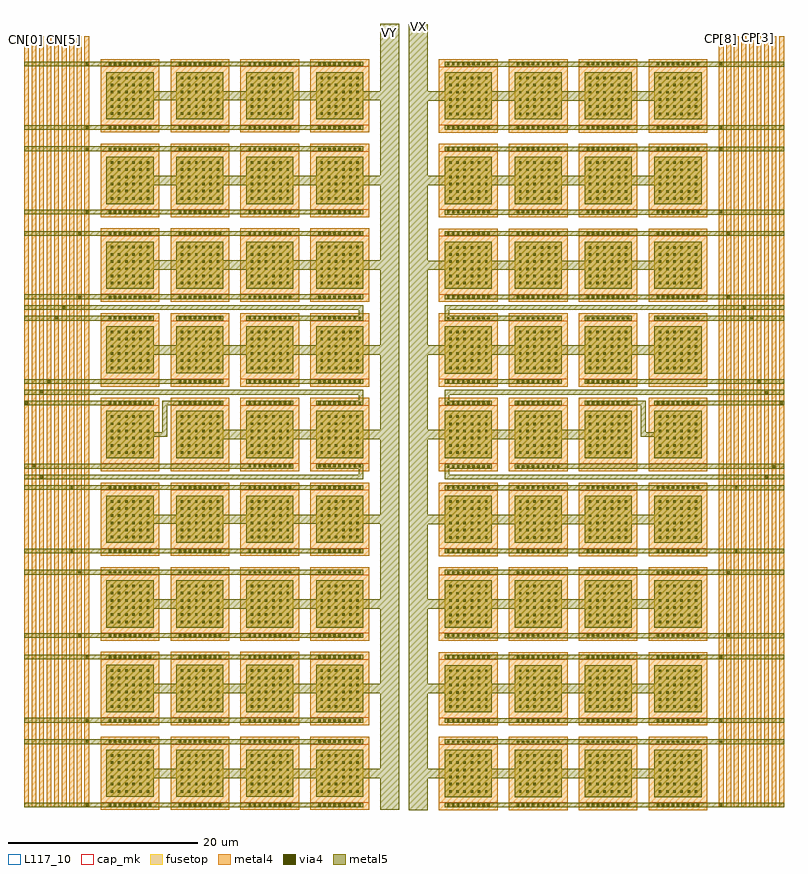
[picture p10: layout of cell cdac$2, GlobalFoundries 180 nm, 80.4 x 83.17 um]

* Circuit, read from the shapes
.subckt cdac$2 CN[0] CN[1] CN[2] CN[3] CN[4] CN[5] CN[6] CN[7] CN[8] CP[0] CP[1] CP[2] CP[3] CP[4] CP[5] CP[6] CP[7] CP[8] VX VY
XC1 VY CN[8] cap_mim_2f0fF c_width=5u c_length=5u m=16
XC2 VY CN[7] cap_mim_2f0fF c_width=5u c_length=5u m=8
XC3 VY CN[6] cap_mim_2f0fF c_width=5u c_length=5u m=4
XC4 n1 CN[0] cap_mim_2f0fF c_width=5u c_length=5u
XC5 VY CN[4] cap_mim_2f0fF c_width=5u c_length=5u
XC6 VY n1 cap_mim_2f0fF c_width=5u c_length=5u
XC7 VY CN[3] cap_mim_2f0fF c_width=5u c_length=5u
XC8 VY CN[1] cap_mim_2f0fF c_width=5u c_length=5u
XC9 VY CN[5] cap_mim_2f0fF c_width=5u c_length=5u m=2
XC10 VY CN[2] cap_mim_2f0fF c_width=5u c_length=5u
XC11 VX CP[8] cap_mim_2f0fF c_width=5u c_length=5u m=16
XC12 VX CP[7] cap_mim_2f0fF c_width=5u c_length=5u m=8
XC13 VX CP[6] cap_mim_2f0fF c_width=5u c_length=5u m=4
XC14 VX CP[2] cap_mim_2f0fF c_width=5u c_length=5u
XC15 VX CP[5] cap_mim_2f0fF c_width=5u c_length=5u m=2
XC16 VX CP[1] cap_mim_2f0fF c_width=5u c_length=5u
XC17 VX n2 cap_mim_2f0fF c_width=5u c_length=5u
XC18 VX CP[3] cap_mim_2f0fF c_width=5u c_length=5u
XC19 n2 CP[0] cap_mim_2f0fF c_width=5u c_length=5u
XC20 VX CP[4] cap_mim_2f0fF c_width=5u c_length=5u
.ends

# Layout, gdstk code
from math import pi, radians
import gdstk
lib = gdstk.Library(unit=1e-6, precision=5e-09)
def R(c, l, rs):  # rectangles x0, y0, x1, y1
    for r in rs: c.add(gdstk.rectangle(r[:2], r[2:], *l))
def A(c, l, x, y, w, h, nx, ny, dx, dy):  # array of equal rectangles
    R(c, l, [(x+i*dx, y+j*dy, x+i*dx+w, y+j*dy+h) for i in range(nx) for j in range(ny)])
via4 = (41, 0)
metal4 = (46, 0)
fusetop = (75, 0)
metal5 = (81, 0)
cap_mk = (117, 5)
L117_10 = (117, 10)

cap_mim_4 = lib.new_cell('cap_mim$4')
A(cap_mim_4, via4, 0.47, 0.47, 0.26, 0.26, 6, 6, 0.76, 0.76)
R(cap_mim_4, metal4, [(-0.6,-0.6,5.6,5.6)])
R(cap_mim_4, fusetop, [(0,0,5,5)])
R(cap_mim_4, metal5, [(0,0,5,5)])
R(cap_mim_4, cap_mk, [(-0.6,-0.6,5.6,5.6)])
R(cap_mim_4, L117_10, [(0,0,5,0.1)])

via_dev_41 = lib.new_cell('via_dev$41')
A(via_dev_41, via4, 0.25, 0.12, 0.26, 0.26, 9, 1, 0.53, 0)
R(via_dev_41, metal4, [(0,0,5,0.5)])
R(via_dev_41, metal5, [(0,0,5,0.5)])

via_dev_2_6 = lib.new_cell('via_dev$2$6')
R(via_dev_2_6, via4, [(0.12,0.12,0.38,0.38)])
R(via_dev_2_6, metal4, [(0,0,0.5,0.5)])
R(via_dev_2_6, metal5, [(0,0,0.5,0.5)])

cdac_2 = lib.new_cell('cdac$2')
A(cdac_2, metal4, 43.9, 0, 6.2, 0.78, 4, 2, 7.4, 6.98)
A(cdac_2, metal4, 8.1, 0.01, 6.2, 0.78, 4, 2, 7.4, 6.98)
A(cdac_2, metal4, 43.9, 8.96, 6.2, 0.78, 4, 2, 7.4, 6.98)
A(cdac_2, metal4, 8.1, 8.97, 6.2, 0.78, 4, 2, 7.4, 6.98)
A(cdac_2, metal4, 43.9, 17.92, 6.2, 0.78, 4, 2, 7.4, 6.98)
A(cdac_2, metal4, 8.1, 17.93, 6.2, 0.78, 4, 2, 7.4, 6.98)
A(cdac_2, metal4, 43.9, 26.88, 6.2, 0.78, 4, 2, 7.4, 6.98)
A(cdac_2, metal4, 8.1, 26.89, 6.2, 0.78, 4, 2, 7.4, 6.98)
A(cdac_2, metal4, 43.9, 35.84, 6.2, 0.78, 4, 2, 7.4, 6.98)
A(cdac_2, metal4, 8.1, 35.85, 6.2, 0.78, 4, 2, 7.4, 6.98)
A(cdac_2, metal4, 43.9, 44.8, 6.2, 0.78, 4, 2, 7.4, 6.98)
A(cdac_2, metal4, 8.1, 44.81, 6.2, 0.78, 4, 2, 7.4, 6.98)
A(cdac_2, metal4, 43.9, 53.76, 6.2, 0.78, 4, 2, 7.4, 6.98)
A(cdac_2, metal4, 8.1, 53.77, 6.2, 0.78, 4, 2, 7.4, 6.98)
A(cdac_2, metal4, 43.9, 62.72, 6.2, 0.78, 4, 2, 7.4, 6.98)
A(cdac_2, metal4, 8.1, 62.73, 6.2, 0.78, 4, 2, 7.4, 6.98)
A(cdac_2, metal4, 43.9, 71.68, 6.2, 0.78, 4, 2, 7.4, 6.98)
A(cdac_2, metal4, 8.1, 71.69, 6.2, 0.78, 4, 2, 7.4, 6.98)
R(cdac_2, metal5, [(56.9,36.12,80.4,36.62), (0,36.13,23.5,36.63), (66.7,42.82,80.4,43.32), (0,42.83,13.7,43.33), (49.5,45.08,51.9,45.58), (59.3,45.08,80.4,45.58), (0,45.09,21.1,45.59), (28.5,45.09,30.9,45.59), (49.5,51.78,51.9,52.28), (66.7,51.78,80.4,52.28), (0,51.79,13.7,52.29), (28.5,51.79,30.9,52.29)])
cdac_2.add(gdstk.FlexPath([(73.75,81.87),(73.75,0.28)], 0.5, ends="flush", simple_path=True, layer=46, datatype=0))  # metal4
cdac_2.add(gdstk.FlexPath([(74.55,81.87),(74.55,0.28)], 0.5, ends="flush", simple_path=True, layer=46, datatype=0))  # metal4
cdac_2.add(gdstk.FlexPath([(75.35,81.87),(75.35,0.28)], 0.5, ends="flush", simple_path=True, layer=46, datatype=0))  # metal4
cdac_2.add(gdstk.FlexPath([(76.15,81.87),(76.15,0.28)], 0.5, ends="flush", simple_path=True, layer=46, datatype=0))  # metal4
cdac_2.add(gdstk.FlexPath([(76.95,81.87),(76.95,0.28)], 0.5, ends="flush", simple_path=True, layer=46, datatype=0))  # metal4
cdac_2.add(gdstk.FlexPath([(78.55,81.87),(78.55,0.28)], 0.5, ends="flush", simple_path=True, layer=46, datatype=0))  # metal4
cdac_2.add(gdstk.FlexPath([(77.75,81.87),(77.75,0.28)], 0.5, ends="flush", simple_path=True, layer=46, datatype=0))  # metal4
cdac_2.add(gdstk.FlexPath([(79.35,81.87),(79.35,0.28)], 0.5, ends="flush", simple_path=True, layer=46, datatype=0))  # metal4
cdac_2.add(gdstk.FlexPath([(80.15,81.87),(80.15,0.28)], 0.5, ends="flush", simple_path=True, layer=46, datatype=0))  # metal4
cdac_2.add(gdstk.FlexPath([(0.25,81.88),(0.25,0.29)], 0.5, ends="flush", simple_path=True, layer=46, datatype=0))  # metal4
cdac_2.add(gdstk.FlexPath([(1.05,81.88),(1.05,0.29)], 0.5, ends="flush", simple_path=True, layer=46, datatype=0))  # metal4
cdac_2.add(gdstk.FlexPath([(2.65,81.88),(2.65,0.29)], 0.5, ends="flush", simple_path=True, layer=46, datatype=0))  # metal4
cdac_2.add(gdstk.FlexPath([(1.85,81.88),(1.85,0.29)], 0.5, ends="flush", simple_path=True, layer=46, datatype=0))  # metal4
cdac_2.add(gdstk.FlexPath([(3.45,81.88),(3.45,0.29)], 0.5, ends="flush", simple_path=True, layer=46, datatype=0))  # metal4
cdac_2.add(gdstk.FlexPath([(4.25,81.88),(4.25,0.29)], 0.5, ends="flush", simple_path=True, layer=46, datatype=0))  # metal4
cdac_2.add(gdstk.FlexPath([(5.05,81.88),(5.05,0.29)], 0.5, ends="flush", simple_path=True, layer=46, datatype=0))  # metal4
cdac_2.add(gdstk.FlexPath([(5.85,81.88),(5.85,0.29)], 0.5, ends="flush", simple_path=True, layer=46, datatype=0))  # metal4
cdac_2.add(gdstk.FlexPath([(6.65,81.88),(6.65,0.29)], 0.5, ends="flush", simple_path=True, layer=46, datatype=0))  # metal4
cdac_2.add(gdstk.FlexPath([(44.5,34.11),(80.4,34.11)], 0.5, ends="flush", simple_path=True, layer=81, datatype=0))  # metal5
cdac_2.add(gdstk.FlexPath([(44.5,27.41),(80.4,27.41)], 0.5, ends="flush", simple_path=True, layer=81, datatype=0))  # metal5
cdac_2.add(gdstk.FlexPath([(44.5,25.15),(80.4,25.15)], 0.5, ends="flush", simple_path=True, layer=81, datatype=0))  # metal5
cdac_2.add(gdstk.FlexPath([(44.5,18.45),(80.4,18.45)], 0.5, ends="flush", simple_path=True, layer=81, datatype=0))  # metal5
cdac_2.add(gdstk.FlexPath([(44.5,53.16),(80.4,53.16)], 0.5, ends="flush", simple_path=True, layer=81, datatype=0))  # metal5
cdac_2.add(gdstk.FlexPath([(44.5,44.2),(80.4,44.2)], 0.5, ends="flush", simple_path=True, layer=81, datatype=0))  # metal5
cdac_2.add(gdstk.FlexPath([(44.75,51.78),(44.75,53.41)], 0.5, ends="flush", simple_path=True, layer=81, datatype=0))  # metal5
cdac_2.add(gdstk.FlexPath([(66.7,39.72),(65.5,39.72),(65.5,43.07),(64.3,43.07)], 0.5, ends="flush", simple_path=True, layer=81, datatype=0))  # metal5
cdac_2.add(gdstk.FlexPath([(66.7,48.68),(41.83,48.68)], 1, ends="flush", simple_path=True, layer=81, datatype=0))  # metal5
cdac_2.add(gdstk.FlexPath([(59.3,39.72),(41.83,39.72)], 1, ends="flush", simple_path=True, layer=81, datatype=0))  # metal5
cdac_2.add(gdstk.FlexPath([(44.5,16.19),(80.4,16.19)], 0.5, ends="flush", simple_path=True, layer=81, datatype=0))  # metal5
cdac_2.add(gdstk.FlexPath([(44.5,9.49),(80.4,9.49)], 0.5, ends="flush", simple_path=True, layer=81, datatype=0))  # metal5
cdac_2.add(gdstk.FlexPath([(44.5,7.23),(80.4,7.23)], 0.5, ends="flush", simple_path=True, layer=81, datatype=0))  # metal5
cdac_2.add(gdstk.FlexPath([(44.5,0.53),(80.4,0.53)], 0.5, ends="flush", simple_path=True, layer=81, datatype=0))  # metal5
cdac_2.add(gdstk.FlexPath([(44.5,78.91),(80.4,78.91)], 0.5, ends="flush", simple_path=True, layer=81, datatype=0))  # metal5
cdac_2.add(gdstk.FlexPath([(44.5,72.21),(80.4,72.21)], 0.5, ends="flush", simple_path=True, layer=81, datatype=0))  # metal5
cdac_2.add(gdstk.FlexPath([(44.5,69.95),(80.4,69.95)], 0.5, ends="flush", simple_path=True, layer=81, datatype=0))  # metal5
cdac_2.add(gdstk.FlexPath([(44.5,63.25),(80.4,63.25)], 0.5, ends="flush", simple_path=True, layer=81, datatype=0))  # metal5
cdac_2.add(gdstk.FlexPath([(44.5,60.99),(80.4,60.99)], 0.5, ends="flush", simple_path=True, layer=81, datatype=0))  # metal5
cdac_2.add(gdstk.FlexPath([(44.5,54.29),(80.4,54.29)], 0.5, ends="flush", simple_path=True, layer=81, datatype=0))  # metal5
cdac_2.add(gdstk.FlexPath([(66.7,75.56),(41.77,75.56)], 1, ends="flush", simple_path=True, layer=81, datatype=0))  # metal5
cdac_2.add(gdstk.FlexPath([(66.7,66.6),(41.77,66.6)], 1, ends="flush", simple_path=True, layer=81, datatype=0))  # metal5
cdac_2.add(gdstk.FlexPath([(66.7,57.64),(41.77,57.64)], 1, ends="flush", simple_path=True, layer=81, datatype=0))  # metal5
cdac_2.add(gdstk.FlexPath([(44.52,35.24),(80.4,35.24)], 0.5, ends="flush", simple_path=True, layer=81, datatype=0))  # metal5
cdac_2.add(gdstk.FlexPath([(44.75,42.82),(44.75,44.45)], 0.5, ends="flush", simple_path=True, layer=81, datatype=0))  # metal5
cdac_2.add(gdstk.FlexPath([(44.75,34.99),(44.75,36.62)], 0.5, ends="flush", simple_path=True, layer=81, datatype=0))  # metal5
cdac_2.add(gdstk.FlexPath([(66.7,30.76),(41.77,30.76)], 1, ends="flush", simple_path=True, layer=81, datatype=0))  # metal5
cdac_2.add(gdstk.FlexPath([(66.7,21.8),(41.77,21.8)], 1, ends="flush", simple_path=True, layer=81, datatype=0))  # metal5
cdac_2.add(gdstk.FlexPath([(66.7,12.84),(41.77,12.84)], 1, ends="flush", simple_path=True, layer=81, datatype=0))  # metal5
cdac_2.add(gdstk.FlexPath([(66.7,3.88),(41.77,3.88)], 1, ends="flush", simple_path=True, layer=81, datatype=0))  # metal5
cdac_2.add(gdstk.FlexPath([(41.7,0),(41.7,83.16)], 2, ends="flush", simple_path=True, layer=81, datatype=0))  # metal5
cdac_2.add(gdstk.FlexPath([(13.7,3.89),(38.63,3.89)], 1, ends="flush", simple_path=True, layer=81, datatype=0))  # metal5
cdac_2.add(gdstk.FlexPath([(13.7,12.85),(38.63,12.85)], 1, ends="flush", simple_path=True, layer=81, datatype=0))  # metal5
cdac_2.add(gdstk.FlexPath([(13.7,21.81),(38.63,21.81)], 1, ends="flush", simple_path=True, layer=81, datatype=0))  # metal5
cdac_2.add(gdstk.FlexPath([(13.7,30.77),(38.63,30.77)], 1, ends="flush", simple_path=True, layer=81, datatype=0))  # metal5
cdac_2.add(gdstk.FlexPath([(35.65,35),(35.65,36.63)], 0.5, ends="flush", simple_path=True, layer=81, datatype=0))  # metal5
cdac_2.add(gdstk.FlexPath([(35.65,42.83),(35.65,44.46)], 0.5, ends="flush", simple_path=True, layer=81, datatype=0))  # metal5
cdac_2.add(gdstk.FlexPath([(35.88,35.25),(0,35.25)], 0.5, ends="flush", simple_path=True, layer=81, datatype=0))  # metal5
cdac_2.add(gdstk.FlexPath([(13.7,57.65),(38.63,57.65)], 1, ends="flush", simple_path=True, layer=81, datatype=0))  # metal5
cdac_2.add(gdstk.FlexPath([(13.7,66.61),(38.63,66.61)], 1, ends="flush", simple_path=True, layer=81, datatype=0))  # metal5
cdac_2.add(gdstk.FlexPath([(13.7,75.57),(38.63,75.57)], 1, ends="flush", simple_path=True, layer=81, datatype=0))  # metal5
cdac_2.add(gdstk.FlexPath([(35.9,54.3),(0,54.3)], 0.5, ends="flush", simple_path=True, layer=81, datatype=0))  # metal5
cdac_2.add(gdstk.FlexPath([(35.9,61),(0,61)], 0.5, ends="flush", simple_path=True, layer=81, datatype=0))  # metal5
cdac_2.add(gdstk.FlexPath([(35.9,63.26),(0,63.26)], 0.5, ends="flush", simple_path=True, layer=81, datatype=0))  # metal5
cdac_2.add(gdstk.FlexPath([(35.9,69.96),(0,69.96)], 0.5, ends="flush", simple_path=True, layer=81, datatype=0))  # metal5
cdac_2.add(gdstk.FlexPath([(35.9,72.22),(0,72.22)], 0.5, ends="flush", simple_path=True, layer=81, datatype=0))  # metal5
cdac_2.add(gdstk.FlexPath([(35.9,78.92),(0,78.92)], 0.5, ends="flush", simple_path=True, layer=81, datatype=0))  # metal5
cdac_2.add(gdstk.FlexPath([(35.9,0.54),(0,0.54)], 0.5, ends="flush", simple_path=True, layer=81, datatype=0))  # metal5
cdac_2.add(gdstk.FlexPath([(35.9,7.24),(0,7.24)], 0.5, ends="flush", simple_path=True, layer=81, datatype=0))  # metal5
cdac_2.add(gdstk.FlexPath([(35.9,9.5),(0,9.5)], 0.5, ends="flush", simple_path=True, layer=81, datatype=0))  # metal5
cdac_2.add(gdstk.FlexPath([(35.9,16.2),(0,16.2)], 0.5, ends="flush", simple_path=True, layer=81, datatype=0))  # metal5
cdac_2.add(gdstk.FlexPath([(21.1,39.73),(38.57,39.73)], 1, ends="flush", simple_path=True, layer=81, datatype=0))  # metal5
cdac_2.add(gdstk.FlexPath([(13.7,48.69),(38.57,48.69)], 1, ends="flush", simple_path=True, layer=81, datatype=0))  # metal5
cdac_2.add(gdstk.FlexPath([(13.7,39.73),(14.9,39.73),(14.9,43.08),(16.1,43.08)], 0.5, ends="flush", simple_path=True, layer=81, datatype=0))  # metal5
cdac_2.add(gdstk.FlexPath([(35.65,51.79),(35.65,53.42)], 0.5, ends="flush", simple_path=True, layer=81, datatype=0))  # metal5
cdac_2.add(gdstk.FlexPath([(35.9,44.21),(0,44.21)], 0.5, ends="flush", simple_path=True, layer=81, datatype=0))  # metal5
cdac_2.add(gdstk.FlexPath([(35.9,53.17),(0,53.17)], 0.5, ends="flush", simple_path=True, layer=81, datatype=0))  # metal5
cdac_2.add(gdstk.FlexPath([(35.9,18.46),(0,18.46)], 0.5, ends="flush", simple_path=True, layer=81, datatype=0))  # metal5
cdac_2.add(gdstk.FlexPath([(35.9,25.16),(0,25.16)], 0.5, ends="flush", simple_path=True, layer=81, datatype=0))  # metal5
cdac_2.add(gdstk.FlexPath([(35.9,27.42),(0,27.42)], 0.5, ends="flush", simple_path=True, layer=81, datatype=0))  # metal5
cdac_2.add(gdstk.FlexPath([(35.9,34.12),(0,34.12)], 0.5, ends="flush", simple_path=True, layer=81, datatype=0))  # metal5
cdac_2.add(gdstk.FlexPath([(38.7,0.01),(38.7,83.17)], 2, ends="flush", simple_path=True, layer=81, datatype=0))  # metal5
cdac_2.add(gdstk.Reference(cap_mim_4, (66.7,37.22)))
cdac_2.add(gdstk.Reference(cap_mim_4, (59.3,37.22)))
cdac_2.add(gdstk.Reference(cap_mim_4, (44.5,37.22)))
cdac_2.add(gdstk.Reference(cap_mim_4, (51.9,37.22)))
cdac_2.add(gdstk.Reference(cap_mim_4, (13.7,37.23), rotation=pi, x_reflection=True))
cdac_2.add(gdstk.Reference(cap_mim_4, (21.1,37.23), rotation=pi, x_reflection=True))
cdac_2.add(gdstk.Reference(cap_mim_4, (28.5,37.23), rotation=pi, x_reflection=True))
cdac_2.add(gdstk.Reference(cap_mim_4, (35.9,37.23), rotation=pi, x_reflection=True))
cdac_2.add(gdstk.Reference(cap_mim_4, (59.3,64.1)))
cdac_2.add(gdstk.Reference(via_dev_41, (59.3,69.7)))
cdac_2.add(gdstk.Reference(cap_mim_4, (44.5,73.06)))
cdac_2.add(gdstk.Reference(via_dev_41, (56.9,63.5), rotation=pi))
cdac_2.add(gdstk.Reference(via_dev_41, (49.5,63.5), rotation=pi))
cdac_2.add(gdstk.Reference(via_dev_41, (51.9,69.7)))
cdac_2.add(gdstk.Reference(via_dev_41, (44.5,69.7)))
cdac_2.add(gdstk.Reference(cap_mim_4, (51.9,64.1)))
cdac_2.add(gdstk.Reference(cap_mim_4, (44.5,64.1)))
cdac_2.add(gdstk.Reference(via_dev_41, (51.9,60.74)))
cdac_2.add(gdstk.Reference(via_dev_41, (44.5,60.74)))
cdac_2.add(gdstk.Reference(cap_mim_4, (59.3,73.06)))
cdac_2.add(gdstk.Reference(via_dev_41, (59.3,78.66)))
cdac_2.add(gdstk.Reference(cap_mim_4, (51.9,55.14)))
cdac_2.add(gdstk.Reference(via_dev_41, (44.5,42.82)))
cdac_2.add(gdstk.Reference(via_dev_41, (51.9,42.82)))
cdac_2.add(gdstk.Reference(via_dev_41, (59.3,42.82)))
cdac_2.add(gdstk.Reference(cap_mim_4, (59.3,55.14)))
cdac_2.add(gdstk.Reference(via_dev_41, (59.3,60.74)))
cdac_2.add(gdstk.Reference(cap_mim_4, (44.5,55.14)))
cdac_2.add(gdstk.Reference(cap_mim_4, (59.3,46.18)))
cdac_2.add(gdstk.Reference(via_dev_41, (59.3,51.78)))
cdac_2.add(gdstk.Reference(via_dev_41, (56.9,54.54), rotation=pi))
cdac_2.add(gdstk.Reference(via_dev_41, (56.9,45.58), rotation=pi))
cdac_2.add(gdstk.Reference(via_dev_41, (49.5,45.58), rotation=pi))
cdac_2.add(gdstk.Reference(via_dev_41, (51.9,51.78)))
cdac_2.add(gdstk.Reference(via_dev_41, (44.5,51.78)))
cdac_2.add(gdstk.Reference(cap_mim_4, (51.9,46.18)))
cdac_2.add(gdstk.Reference(cap_mim_4, (44.5,46.18)))
cdac_2.add(gdstk.Reference(via_dev_41, (49.5,54.54), rotation=pi))
cdac_2.add(gdstk.Reference(via_dev_41, (56.9,72.46), rotation=pi))
cdac_2.add(gdstk.Reference(cap_mim_4, (66.7,73.06)))
cdac_2.add(gdstk.Reference(via_dev_41, (71.7,63.5), rotation=pi))
cdac_2.add(gdstk.Reference(cap_mim_4, (66.7,64.1)))
cdac_2.add(gdstk.Reference(via_dev_41, (66.7,69.7)))
cdac_2.add(gdstk.Reference(via_dev_41, (64.3,63.5), rotation=pi))
cdac_2.add(gdstk.Reference(via_dev_41, (71.7,72.46), rotation=pi))
cdac_2.add(gdstk.Reference(via_dev_41, (66.7,78.66)))
cdac_2.add(gdstk.Reference(via_dev_41, (64.3,72.46), rotation=pi))
cdac_2.add(gdstk.Reference(via_dev_41, (66.7,42.82)))
cdac_2.add(gdstk.Reference(cap_mim_4, (66.7,46.18)))
cdac_2.add(gdstk.Reference(via_dev_41, (66.7,51.78)))
cdac_2.add(gdstk.Reference(via_dev_41, (64.3,45.58), rotation=pi))
cdac_2.add(gdstk.Reference(via_dev_2_6, (79.9,42.82)))
cdac_2.add(gdstk.Reference(via_dev_41, (71.7,54.54), rotation=pi))
cdac_2.add(gdstk.Reference(cap_mim_4, (66.7,55.14)))
cdac_2.add(gdstk.Reference(via_dev_41, (66.7,60.74)))
cdac_2.add(gdstk.Reference(via_dev_41, (64.3,54.54), rotation=pi))
cdac_2.add(gdstk.Reference(via_dev_2_6, (78.3,43.95)))
cdac_2.add(gdstk.Reference(via_dev_2_6, (77.5,45.08)))
cdac_2.add(gdstk.Reference(via_dev_2_6, (76.7,51.78)))
cdac_2.add(gdstk.Reference(via_dev_2_6, (75.9,52.91)))
cdac_2.add(gdstk.Reference(via_dev_2_6, (74.3,54.04)))
cdac_2.add(gdstk.Reference(via_dev_2_6, (74.3,60.74)))
cdac_2.add(gdstk.Reference(via_dev_2_6, (73.5,63)))
cdac_2.add(gdstk.Reference(via_dev_2_6, (73.5,69.7)))
cdac_2.add(gdstk.Reference(via_dev_2_6, (73.5,71.96)))
cdac_2.add(gdstk.Reference(via_dev_2_6, (73.5,78.66)))
cdac_2.add(gdstk.Reference(via_dev_41, (49.5,72.46), rotation=pi))
cdac_2.add(gdstk.Reference(via_dev_41, (51.9,78.66)))
cdac_2.add(gdstk.Reference(via_dev_41, (44.5,78.66)))
cdac_2.add(gdstk.Reference(cap_mim_4, (51.9,73.06)))
cdac_2.add(gdstk.Reference(via_dev_41, (23.5,54.55), x_reflection=True))
cdac_2.add(gdstk.Reference(via_dev_41, (21.1,51.79), rotation=pi, x_reflection=True))
cdac_2.add(gdstk.Reference(cap_mim_4, (21.1,46.19), rotation=pi, x_reflection=True))
cdac_2.add(gdstk.Reference(cap_mim_4, (35.9,55.15), rotation=pi, x_reflection=True))
cdac_2.add(gdstk.Reference(via_dev_41, (21.1,60.75), rotation=pi, x_reflection=True))
cdac_2.add(gdstk.Reference(cap_mim_4, (21.1,55.15), rotation=pi, x_reflection=True))
cdac_2.add(gdstk.Reference(via_dev_41, (21.1,42.83), rotation=pi, x_reflection=True))
cdac_2.add(gdstk.Reference(via_dev_41, (28.5,42.83), rotation=pi, x_reflection=True))
cdac_2.add(gdstk.Reference(via_dev_41, (35.9,42.83), rotation=pi, x_reflection=True))
cdac_2.add(gdstk.Reference(cap_mim_4, (28.5,55.15), rotation=pi, x_reflection=True))
cdac_2.add(gdstk.Reference(via_dev_41, (21.1,78.67), rotation=pi, x_reflection=True))
cdac_2.add(gdstk.Reference(cap_mim_4, (21.1,73.07), rotation=pi, x_reflection=True))
cdac_2.add(gdstk.Reference(via_dev_41, (35.9,60.75), rotation=pi, x_reflection=True))
cdac_2.add(gdstk.Reference(via_dev_41, (28.5,60.75), rotation=pi, x_reflection=True))
cdac_2.add(gdstk.Reference(cap_mim_4, (35.9,64.11), rotation=pi, x_reflection=True))
cdac_2.add(gdstk.Reference(cap_mim_4, (28.5,64.11), rotation=pi, x_reflection=True))
cdac_2.add(gdstk.Reference(via_dev_41, (35.9,69.71), rotation=pi, x_reflection=True))
cdac_2.add(gdstk.Reference(via_dev_41, (28.5,69.71), rotation=pi, x_reflection=True))
cdac_2.add(gdstk.Reference(via_dev_41, (30.9,63.51), x_reflection=True))
cdac_2.add(gdstk.Reference(via_dev_41, (23.5,63.51), x_reflection=True))
cdac_2.add(gdstk.Reference(cap_mim_4, (35.9,73.07), rotation=pi, x_reflection=True))
cdac_2.add(gdstk.Reference(via_dev_41, (21.1,69.71), rotation=pi, x_reflection=True))
cdac_2.add(gdstk.Reference(cap_mim_4, (21.1,64.11), rotation=pi, x_reflection=True))
cdac_2.add(gdstk.Reference(cap_mim_4, (28.5,73.07), rotation=pi, x_reflection=True))
cdac_2.add(gdstk.Reference(via_dev_41, (35.9,78.67), rotation=pi, x_reflection=True))
cdac_2.add(gdstk.Reference(via_dev_41, (28.5,78.67), rotation=pi, x_reflection=True))
cdac_2.add(gdstk.Reference(via_dev_41, (30.9,72.47), x_reflection=True))
cdac_2.add(gdstk.Reference(via_dev_41, (23.5,72.47), x_reflection=True))
cdac_2.add(gdstk.Reference(via_dev_41, (30.9,54.55), x_reflection=True))
cdac_2.add(gdstk.Reference(cap_mim_4, (35.9,46.19), rotation=pi, x_reflection=True))
cdac_2.add(gdstk.Reference(cap_mim_4, (28.5,46.19), rotation=pi, x_reflection=True))
cdac_2.add(gdstk.Reference(via_dev_41, (35.9,51.79), rotation=pi, x_reflection=True))
cdac_2.add(gdstk.Reference(via_dev_41, (28.5,51.79), rotation=pi, x_reflection=True))
cdac_2.add(gdstk.Reference(via_dev_41, (30.9,45.59), x_reflection=True))
cdac_2.add(gdstk.Reference(via_dev_41, (23.5,45.59), x_reflection=True))
cdac_2.add(gdstk.Reference(via_dev_2_6, (6.9,78.67), rotation=pi, x_reflection=True))
cdac_2.add(gdstk.Reference(via_dev_2_6, (6.9,71.97), rotation=pi, x_reflection=True))
cdac_2.add(gdstk.Reference(via_dev_2_6, (6.9,69.71), rotation=pi, x_reflection=True))
cdac_2.add(gdstk.Reference(via_dev_2_6, (6.9,63.01), rotation=pi, x_reflection=True))
cdac_2.add(gdstk.Reference(via_dev_2_6, (6.1,60.75), rotation=pi, x_reflection=True))
cdac_2.add(gdstk.Reference(via_dev_2_6, (6.1,54.05), rotation=pi, x_reflection=True))
cdac_2.add(gdstk.Reference(via_dev_2_6, (4.5,52.92), rotation=pi, x_reflection=True))
cdac_2.add(gdstk.Reference(via_dev_2_6, (3.7,51.79), rotation=pi, x_reflection=True))
cdac_2.add(gdstk.Reference(via_dev_2_6, (2.9,45.09), rotation=pi, x_reflection=True))
cdac_2.add(gdstk.Reference(via_dev_2_6, (2.1,43.96), rotation=pi, x_reflection=True))
cdac_2.add(gdstk.Reference(via_dev_41, (16.1,54.55), x_reflection=True))
cdac_2.add(gdstk.Reference(via_dev_41, (13.7,60.75), rotation=pi, x_reflection=True))
cdac_2.add(gdstk.Reference(cap_mim_4, (13.7,55.15), rotation=pi, x_reflection=True))
cdac_2.add(gdstk.Reference(via_dev_41, (8.7,54.55), x_reflection=True))
cdac_2.add(gdstk.Reference(via_dev_2_6, (0.5,42.83), rotation=pi, x_reflection=True))
cdac_2.add(gdstk.Reference(via_dev_41, (16.1,45.59), x_reflection=True))
cdac_2.add(gdstk.Reference(via_dev_41, (13.7,51.79), rotation=pi, x_reflection=True))
cdac_2.add(gdstk.Reference(cap_mim_4, (13.7,46.19), rotation=pi, x_reflection=True))
cdac_2.add(gdstk.Reference(via_dev_41, (13.7,42.83), rotation=pi, x_reflection=True))
cdac_2.add(gdstk.Reference(via_dev_41, (16.1,72.47), x_reflection=True))
cdac_2.add(gdstk.Reference(via_dev_41, (13.7,78.67), rotation=pi, x_reflection=True))
cdac_2.add(gdstk.Reference(via_dev_41, (8.7,72.47), x_reflection=True))
cdac_2.add(gdstk.Reference(via_dev_41, (16.1,63.51), x_reflection=True))
cdac_2.add(gdstk.Reference(via_dev_41, (13.7,69.71), rotation=pi, x_reflection=True))
cdac_2.add(gdstk.Reference(cap_mim_4, (13.7,64.11), rotation=pi, x_reflection=True))
cdac_2.add(gdstk.Reference(via_dev_41, (8.7,63.51), x_reflection=True))
cdac_2.add(gdstk.Reference(cap_mim_4, (13.7,73.07), rotation=pi, x_reflection=True))
cdac_2.add(gdstk.Reference(via_dev_2_6, (5.3,33.87), rotation=pi, x_reflection=True))
cdac_2.add(gdstk.Reference(via_dev_41, (16.1,0.79), x_reflection=True))
cdac_2.add(gdstk.Reference(via_dev_2_6, (1.3,36.13), rotation=pi, x_reflection=True))
cdac_2.add(gdstk.Reference(via_dev_41, (16.1,18.71), x_reflection=True))
cdac_2.add(gdstk.Reference(via_dev_2_6, (6.1,24.91), rotation=pi, x_reflection=True))
cdac_2.add(gdstk.Reference(via_dev_2_6, (6.9,0.29), rotation=pi, x_reflection=True))
cdac_2.add(gdstk.Reference(via_dev_41, (13.7,24.91), rotation=pi, x_reflection=True))
cdac_2.add(gdstk.Reference(cap_mim_4, (13.7,19.31), rotation=pi, x_reflection=True))
cdac_2.add(gdstk.Reference(via_dev_41, (8.7,18.71), x_reflection=True))
cdac_2.add(gdstk.Reference(via_dev_2_6, (6.9,6.99), rotation=pi, x_reflection=True))
cdac_2.add(gdstk.Reference(via_dev_2_6, (6.9,9.25), rotation=pi, x_reflection=True))
cdac_2.add(gdstk.Reference(via_dev_41, (16.1,27.67), x_reflection=True))
cdac_2.add(gdstk.Reference(via_dev_2_6, (6.9,15.95), rotation=pi, x_reflection=True))
cdac_2.add(gdstk.Reference(via_dev_2_6, (5.3,27.17), rotation=pi, x_reflection=True))
cdac_2.add(gdstk.Reference(via_dev_41, (8.7,27.67), x_reflection=True))
cdac_2.add(gdstk.Reference(via_dev_41, (16.1,9.75), x_reflection=True))
cdac_2.add(gdstk.Reference(via_dev_41, (13.7,33.87), rotation=pi, x_reflection=True))
cdac_2.add(gdstk.Reference(cap_mim_4, (13.7,28.27), rotation=pi, x_reflection=True))
cdac_2.add(gdstk.Reference(via_dev_41, (13.7,15.95), rotation=pi, x_reflection=True))
cdac_2.add(gdstk.Reference(cap_mim_4, (13.7,10.35), rotation=pi, x_reflection=True))
cdac_2.add(gdstk.Reference(via_dev_41, (8.7,9.75), x_reflection=True))
cdac_2.add(gdstk.Reference(cap_mim_4, (28.5,10.35), rotation=pi, x_reflection=True))
cdac_2.add(gdstk.Reference(via_dev_41, (35.9,15.95), rotation=pi, x_reflection=True))
cdac_2.add(gdstk.Reference(via_dev_41, (28.5,15.95), rotation=pi, x_reflection=True))
cdac_2.add(gdstk.Reference(via_dev_41, (30.9,9.75), x_reflection=True))
cdac_2.add(gdstk.Reference(via_dev_41, (23.5,9.75), x_reflection=True))
cdac_2.add(gdstk.Reference(via_dev_41, (21.1,15.95), rotation=pi, x_reflection=True))
cdac_2.add(gdstk.Reference(cap_mim_4, (21.1,10.35), rotation=pi, x_reflection=True))
cdac_2.add(gdstk.Reference(cap_mim_4, (21.1,28.27), rotation=pi, x_reflection=True))
cdac_2.add(gdstk.Reference(cap_mim_4, (35.9,19.31), rotation=pi, x_reflection=True))
cdac_2.add(gdstk.Reference(cap_mim_4, (28.5,19.31), rotation=pi, x_reflection=True))
cdac_2.add(gdstk.Reference(via_dev_41, (35.9,24.91), rotation=pi, x_reflection=True))
cdac_2.add(gdstk.Reference(via_dev_41, (28.5,24.91), rotation=pi, x_reflection=True))
cdac_2.add(gdstk.Reference(cap_mim_4, (21.1,1.39), rotation=pi, x_reflection=True))
cdac_2.add(gdstk.Reference(via_dev_41, (30.9,0.79), x_reflection=True))
cdac_2.add(gdstk.Reference(via_dev_41, (23.5,0.79), x_reflection=True))
cdac_2.add(gdstk.Reference(via_dev_41, (21.1,6.99), rotation=pi, x_reflection=True))
cdac_2.add(gdstk.Reference(cap_mim_4, (35.9,1.39), rotation=pi, x_reflection=True))
cdac_2.add(gdstk.Reference(cap_mim_4, (28.5,1.39), rotation=pi, x_reflection=True))
cdac_2.add(gdstk.Reference(cap_mim_4, (35.9,28.27), rotation=pi, x_reflection=True))
cdac_2.add(gdstk.Reference(cap_mim_4, (28.5,28.27), rotation=pi, x_reflection=True))
cdac_2.add(gdstk.Reference(via_dev_41, (35.9,6.99), rotation=pi, x_reflection=True))
cdac_2.add(gdstk.Reference(via_dev_41, (35.9,33.87), rotation=pi, x_reflection=True))
cdac_2.add(gdstk.Reference(via_dev_41, (28.5,33.87), rotation=pi, x_reflection=True))
cdac_2.add(gdstk.Reference(via_dev_41, (28.5,6.99), rotation=pi, x_reflection=True))
cdac_2.add(gdstk.Reference(via_dev_2_6, (6.1,18.21), rotation=pi, x_reflection=True))
cdac_2.add(gdstk.Reference(via_dev_41, (30.9,27.67), x_reflection=True))
cdac_2.add(gdstk.Reference(via_dev_41, (23.5,27.67), x_reflection=True))
cdac_2.add(gdstk.Reference(via_dev_41, (23.5,36.63), x_reflection=True))
cdac_2.add(gdstk.Reference(via_dev_41, (30.9,36.63), x_reflection=True))
cdac_2.add(gdstk.Reference(via_dev_41, (30.9,18.71), x_reflection=True))
cdac_2.add(gdstk.Reference(via_dev_41, (21.1,33.87), rotation=pi, x_reflection=True))
cdac_2.add(gdstk.Reference(via_dev_41, (13.7,6.99), rotation=pi, x_reflection=True))
cdac_2.add(gdstk.Reference(cap_mim_4, (13.7,1.39), rotation=pi, x_reflection=True))
cdac_2.add(gdstk.Reference(via_dev_41, (23.5,18.71), x_reflection=True))
cdac_2.add(gdstk.Reference(via_dev_41, (21.1,24.91), rotation=pi, x_reflection=True))
cdac_2.add(gdstk.Reference(cap_mim_4, (21.1,19.31), rotation=pi, x_reflection=True))
cdac_2.add(gdstk.Reference(cap_mim_4, (35.9,10.35), rotation=pi, x_reflection=True))
cdac_2.add(gdstk.Reference(via_dev_41, (8.7,0.79), x_reflection=True))
cdac_2.add(gdstk.Reference(via_dev_2_6, (2.1,35), rotation=pi, x_reflection=True))
cdac_2.add(gdstk.Reference(via_dev_2_6, (78.3,34.99)))
cdac_2.add(gdstk.Reference(via_dev_41, (71.7,0.78), rotation=pi))
cdac_2.add(gdstk.Reference(cap_mim_4, (66.7,1.38)))
cdac_2.add(gdstk.Reference(via_dev_41, (66.7,6.98)))
cdac_2.add(gdstk.Reference(via_dev_2_6, (74.3,18.2)))
cdac_2.add(gdstk.Reference(via_dev_41, (71.7,27.66), rotation=pi))
cdac_2.add(gdstk.Reference(via_dev_41, (71.7,9.74), rotation=pi))
cdac_2.add(gdstk.Reference(cap_mim_4, (66.7,10.34)))
cdac_2.add(gdstk.Reference(via_dev_41, (66.7,15.94)))
cdac_2.add(gdstk.Reference(cap_mim_4, (66.7,28.26)))
cdac_2.add(gdstk.Reference(via_dev_41, (66.7,33.86)))
cdac_2.add(gdstk.Reference(via_dev_41, (64.3,9.74), rotation=pi))
cdac_2.add(gdstk.Reference(via_dev_41, (64.3,27.66), rotation=pi))
cdac_2.add(gdstk.Reference(via_dev_2_6, (75.1,27.16)))
cdac_2.add(gdstk.Reference(via_dev_2_6, (73.5,15.94)))
cdac_2.add(gdstk.Reference(via_dev_2_6, (73.5,9.24)))
cdac_2.add(gdstk.Reference(via_dev_41, (51.9,6.98)))
cdac_2.add(gdstk.Reference(via_dev_41, (51.9,33.86)))
cdac_2.add(gdstk.Reference(via_dev_41, (44.5,33.86)))
cdac_2.add(gdstk.Reference(via_dev_41, (44.5,6.98)))
cdac_2.add(gdstk.Reference(cap_mim_4, (51.9,28.26)))
cdac_2.add(gdstk.Reference(cap_mim_4, (44.5,28.26)))
cdac_2.add(gdstk.Reference(cap_mim_4, (51.9,1.38)))
cdac_2.add(gdstk.Reference(cap_mim_4, (44.5,1.38)))
cdac_2.add(gdstk.Reference(via_dev_41, (59.3,6.98)))
cdac_2.add(gdstk.Reference(via_dev_41, (56.9,0.78), rotation=pi))
cdac_2.add(gdstk.Reference(via_dev_41, (49.5,0.78), rotation=pi))
cdac_2.add(gdstk.Reference(cap_mim_4, (59.3,1.38)))
cdac_2.add(gdstk.Reference(via_dev_41, (51.9,24.9)))
cdac_2.add(gdstk.Reference(via_dev_41, (44.5,24.9)))
cdac_2.add(gdstk.Reference(cap_mim_4, (51.9,19.3)))
cdac_2.add(gdstk.Reference(cap_mim_4, (44.5,19.3)))
cdac_2.add(gdstk.Reference(cap_mim_4, (59.3,28.26)))
cdac_2.add(gdstk.Reference(cap_mim_4, (59.3,10.34)))
cdac_2.add(gdstk.Reference(via_dev_41, (59.3,15.94)))
cdac_2.add(gdstk.Reference(via_dev_41, (56.9,9.74), rotation=pi))
cdac_2.add(gdstk.Reference(via_dev_41, (49.5,9.74), rotation=pi))
cdac_2.add(gdstk.Reference(via_dev_41, (51.9,15.94)))
cdac_2.add(gdstk.Reference(via_dev_41, (44.5,15.94)))
cdac_2.add(gdstk.Reference(cap_mim_4, (51.9,10.34)))
cdac_2.add(gdstk.Reference(cap_mim_4, (44.5,10.34)))
cdac_2.add(gdstk.Reference(cap_mim_4, (59.3,19.3)))
cdac_2.add(gdstk.Reference(via_dev_41, (59.3,24.9)))
cdac_2.add(gdstk.Reference(via_dev_41, (56.9,18.7), rotation=pi))
cdac_2.add(gdstk.Reference(via_dev_2_6, (73.5,6.98)))
cdac_2.add(gdstk.Reference(via_dev_41, (71.7,18.7), rotation=pi))
cdac_2.add(gdstk.Reference(via_dev_41, (59.3,33.86)))
cdac_2.add(gdstk.Reference(via_dev_41, (49.5,18.7), rotation=pi))
cdac_2.add(gdstk.Reference(via_dev_41, (49.5,36.62), rotation=pi))
cdac_2.add(gdstk.Reference(via_dev_41, (56.9,36.62), rotation=pi))
cdac_2.add(gdstk.Reference(via_dev_41, (56.9,27.66), rotation=pi))
cdac_2.add(gdstk.Reference(via_dev_41, (49.5,27.66), rotation=pi))
cdac_2.add(gdstk.Reference(cap_mim_4, (66.7,19.3)))
cdac_2.add(gdstk.Reference(via_dev_41, (66.7,24.9)))
cdac_2.add(gdstk.Reference(via_dev_2_6, (73.5,0.28)))
cdac_2.add(gdstk.Reference(via_dev_2_6, (74.3,24.9)))
cdac_2.add(gdstk.Reference(via_dev_41, (64.3,18.7), rotation=pi))
cdac_2.add(gdstk.Reference(via_dev_2_6, (79.1,36.12)))
cdac_2.add(gdstk.Reference(via_dev_41, (64.3,0.78), rotation=pi))
cdac_2.add(gdstk.Reference(via_dev_2_6, (75.1,33.86)))
cdac_2.add(gdstk.Label('VX', (41.7,82.86), layer=81, texttype=10))
cdac_2.add(gdstk.Label('VY', (38.7,82.31), layer=81, texttype=10))
cdac_2.add(gdstk.Label('CP[8]', (73.75,81.61), layer=46, texttype=10))
cdac_2.add(gdstk.Label('CP[7]', (74.55,81.64), layer=46, texttype=10))
cdac_2.add(gdstk.Label('CP[6]', (75.35,81.67), layer=46, texttype=10))
cdac_2.add(gdstk.Label('CP[5]', (76.15,81.68), layer=46, texttype=10))
cdac_2.add(gdstk.Label('CP[4]', (76.95,81.71), layer=46, texttype=10))
cdac_2.add(gdstk.Label('CP[3]', (77.75,81.71), layer=46, texttype=10))
cdac_2.add(gdstk.Label('CP[2]', (78.55,81.71), layer=46, texttype=10))
cdac_2.add(gdstk.Label('CP[1]', (79.35,81.73), layer=46, texttype=10))
cdac_2.add(gdstk.Label('CP[0]', (80.15,81.77), layer=46, texttype=10))
cdac_2.add(gdstk.Label('CN[0]', (0.25,81.49), layer=46, texttype=10))
cdac_2.add(gdstk.Label('CN[1]', (1.05,81.53), layer=46, texttype=10))
cdac_2.add(gdstk.Label('CN[2]', (1.85,81.52), layer=46, texttype=10))
cdac_2.add(gdstk.Label('CN[3]', (2.65,81.51), layer=46, texttype=10))
cdac_2.add(gdstk.Label('CN[4]', (3.45,81.49), layer=46, texttype=10))
cdac_2.add(gdstk.Label('CN[5]', (4.25,81.53), layer=46, texttype=10))
cdac_2.add(gdstk.Label('CN[6]', (5.05,81.5), layer=46, texttype=10))
cdac_2.add(gdstk.Label('CN[7]', (5.85,81.5), layer=46, texttype=10))
cdac_2.add(gdstk.Label('CN[8]', (6.65,81.5), layer=46, texttype=10))

lib.write_gds('cdac_2.gds')
